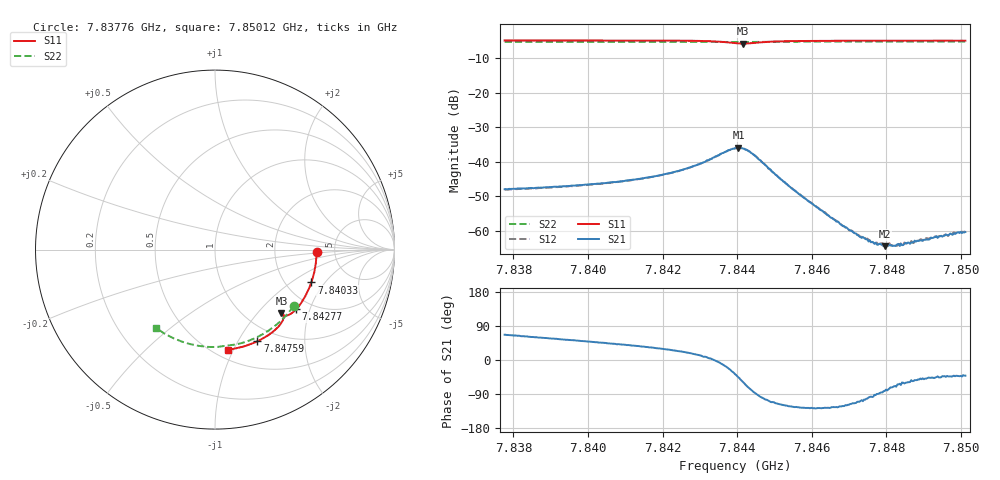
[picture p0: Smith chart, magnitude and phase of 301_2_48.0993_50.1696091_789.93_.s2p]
#  HZ  S  RI  R  50.00
! Rohde & Schwarz Vector Network Analyzer
! Rohde-Schwarz,ZNB20-2Port,1311601062101988,3.16
! Created: UTC 12/23/2023, 4:04:45 AM
! freq[Hz]  re:S11  im:S11  re:S21  im:S21  re:S12  im:S12  re:S22  im:S22
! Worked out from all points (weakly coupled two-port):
!   401 points, 7.83776 GHz to 7.85012 GHz, reference 50 ohm
!   highest |S21| = -35.91 dB at 7.84403 GHz (marker M1); lowest = -64.3 dB at 7.84796 GHz (marker M2)
!   lowest |S11| = -5.8 dB at 7.84416 GHz (marker M3), VSWR 3.10, Z = 70.7 - j67.7 ohm
!   |S11| at or under -10 dB: nowhere
!   |S22| runs from -5.4 to -5.3 dB; largest |S21 - S12| = 0.00026
!   S11 on the Smith chart (normalised r, x): 7.83776 GHz: 3.61, -0.16; 7.84033 GHz: 2.73, -1.47; 7.84277 GHz: 1.67, -1.62; 7.84759 GHz: 0.81, -1.21; 7.85012 GHz: 0.58, -0.95
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7.837764e9  0.5664 -0.015  0.00159 0.0037  0.00161 0.00358  0.4386 -0.3148
7.839833e9  0.5464 -0.1514  0.00297 0.00355  0.00294 0.00354  0.3399 -0.4203
7.840327e9  0.5365 -0.1831  0.00337 0.00348  0.00334 0.00348  0.3124 -0.4414
7.841902e9  0.4903 -0.2812  0.00548 0.00324  0.00542 0.00325  0.2164 -0.4963
7.842767e9  0.4525 -0.3321  0.00803 0.00254  0.00802 0.00253  0.1591 -0.5175
7.843478e9  0.4059 -0.3657  0.0123 -0.00103  0.0123 -0.00105  0.1105 -0.529
7.843941e9  0.3716 -0.3625  0.0125 -0.00954  0.0125 -0.00941  0.0797 -0.533
7.844034e9  0.3691 -0.3584  0.0111 -0.0115  0.0111 -0.0113  0.0737 -0.5337
7.844157e9  0.37 -0.3535  0.00817 -0.0133  0.00815 -0.0132  0.0662 -0.5348
7.844312e9  0.3754 -0.3531  0.00407 -0.0136  0.00415 -0.0137  0.0564 -0.5363
7.844466e9  0.3805 -0.359  0.000824 -0.0124  0.000918 -0.0124  0.0464 -0.5382
7.845176e9  0.3698 -0.4086  -0.00257 -0.00491  -0.00261 -0.00497  -0.00329 -0.5426
7.84601e9  0.3282 -0.4533  -0.00148 -0.00199  -0.00151 -0.00201  -0.0623 -0.5401
7.846968e9  0.2733 -0.4913  -0.000512 -0.000953  -0.000508 -0.00096  -0.1287 -0.5291
7.847277e9  0.2548 -0.5015  -0.000289 -0.000783  -0.000317 -0.000797  -0.1497 -0.5235
7.847586e9  0.236 -0.511  -7.88e-05 -0.000684  -9.24e-05 -0.00069  -0.1704 -0.5173
7.84774e9  0.2266 -0.5152  3.12e-06 -0.000643  -2.13e-06 -0.000685  -0.1808 -0.5139
7.847956e9  0.213 -0.5209  8.82e-05 -0.0006  6.45e-05 -0.000629  -0.195 -0.5087
7.84808e9  0.2054 -0.5241  0.000159 -0.000606  0.000159 -0.000651  -0.2032 -0.5057
7.848296e9  0.1917 -0.5292  0.000279 -0.000585  0.000258 -0.000561  -0.2171 -0.5
7.849809e9  0.0941 -0.5547  0.000696 -0.000611  0.00072 -0.000641  -0.3102 -0.4492
7.850118e9  0.0738 -0.5576  0.000729 -0.000641  0.000721 -0.000656  -0.3278 -0.4366
